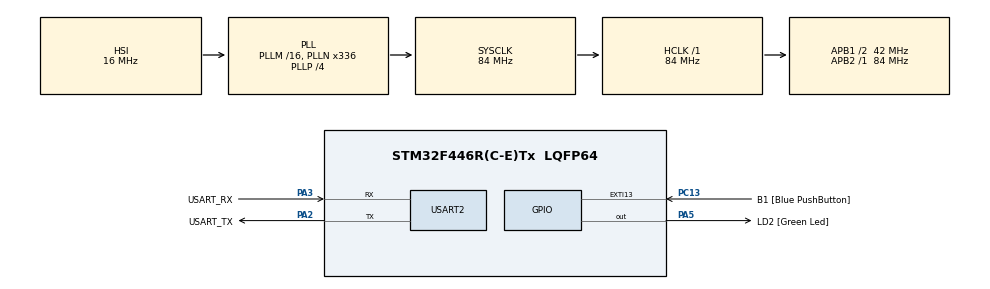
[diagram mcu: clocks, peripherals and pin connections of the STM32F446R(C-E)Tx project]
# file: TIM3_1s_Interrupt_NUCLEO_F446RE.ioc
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Mcu.Family=STM32F4
Mcu.Name=STM32F446R(C-E)Tx
Mcu.Package=LQFP64
NVIC.PriorityGroup=NVIC_PRIORITYGROUP_0
PA13.GPIO_Label=TMS
PA13.Mode=Serial_Wire
PA13.Signal=SYS_JTMS-SWDIO
PA14.GPIO_Label=TCK
PA14.Mode=Serial_Wire
PA14.Signal=SYS_JTCK-SWCLK
PA2.GPIO_Label=USART_TX
PA2.Mode=Asynchronous
PA2.Signal=USART2_TX
PA3.GPIO_Label=USART_RX
PA3.Mode=Asynchronous
PA3.Signal=USART2_RX
PA5.GPIO_Label=LD2 [Green Led]
PA5.Signal=GPIO_Output
PB3.GPIO_Label=SWO
PB3.Signal=SYS_JTDO-SWO
PC13.GPIO_Label=B1 [Blue PushButton]
PC13.GPIO_ModeDefaultEXTI=GPIO_MODE_IT_FALLING
PC13.Signal=GPXTI13
PC14-OSC32_IN.Mode=LSE-External-Oscillator
PC14-OSC32_IN.Signal=RCC_OSC32_IN
PC15-OSC32_OUT.Mode=LSE-External-Oscillator
PC15-OSC32_OUT.Signal=RCC_OSC32_OUT
PH0-OSC_IN.Mode=HSE-External-Oscillator
PH0-OSC_IN.Signal=RCC_OSC_IN
PH1-OSC_OUT.Mode=HSE-External-Oscillator
PH1-OSC_OUT.Signal=RCC_OSC_OUT
ProjectManager.HeapSize=0x200
ProjectManager.StackSize=0x400
ProjectManager.TargetToolchain=STM32CubeIDE
RCC.48MHZClocksFreq_Value=84000000
RCC.AHBFreq_Value=84000000
RCC.APB1CLKDivider=RCC_HCLK_DIV2
RCC.APB1Freq_Value=42000000
RCC.APB1TimFreq_Value=84000000
RCC.APB2Freq_Value=84000000
RCC.APB2TimFreq_Value=84000000
RCC.CortexFreq_Value=84000000
RCC.FLatency-AdvancedSettings=FLASH_LATENCY_2
RCC.HCLKFreq_Value=84000000
RCC.HSE_VALUE=8000000
RCC.HSI_VALUE=16000000
RCC.PLLN=336
RCC.PLLP=RCC_PLLP_DIV4
RCC.SYSCLKFreq_VALUE=84000000
RCC.SYSCLKSource=RCC_SYSCLKSOURCE_PLLCLK
RCC.USBFreq_Value=168000000
RCC.VCOOutputFreq_Value=336000000
USART2.VirtualMode=VM_ASYNC
board=NUCLEO-F446RE

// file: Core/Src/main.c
/* USER CODE BEGIN Header */
/**
  ******************************************************************************
  * @file           : main.c
  * @brief          : TIM3 con interrupción
  * Este programa configura TIM3 para generar un evento cada 1 segundo. Cuando el
  * contador llega al valor definido en ARR, se activa el flag UIF y, como la
  * interrupción está habilitada en el timer y en el NVIC, se ejecuta
  * TIM3_IRQHandler().Dentro de la rutina de interrupción se limpia el flag UIF
  * y se conmuta el pin PA5, donde está conectado el LED LD2 de la NUCLEO-F446RE.
  * La idea central es mostrar que el tiempo lo mide el hardware del timer,
  * mientras que la CPU solo interviene cuando ocurre el evento. Como el LED
  * conmuta cada 1 segundo, en PA5 se observa una señal con 1 segundo en alto,
  * 1 segundo en bajo y una frecuencia aproximada de 0,5 Hz.Main program body
  ******************************************************************************
  * @attention
  *
  * Copyright (c) 2026 STMicroelectronics.
  * All rights reserved.
  *
  * This software is licensed under terms that can be found in the LICENSE file
  * in the root directory of this software component.
  * If no LICENSE file comes with this software, it is provided AS-IS.
  *
  ******************************************************************************
  */
/* USER CODE END Header */
#include "main.h"

UART_HandleTypeDef huart2;

void SystemClock_Config(void);
static void MX_GPIO_Init(void);
static void MX_USART2_UART_Init(void);
/* USER CODE BEGIN PFP */
static void TIM3_1s_Interrupt_Init(void);
static void LD2_Toggle_Register(void);
/* USER CODE END PFP */

/* USER CODE BEGIN 0 */
static void LD2_Toggle_Register(void)
{
    GPIOA->ODR ^= (1UL << 5U);
}

static void TIM3_1s_Interrupt_Init(void)
{
    /*
     * TIM3 pertenece a APB1.
     * En esta configuración:
     *
     * PCLK1 = 42 MHz
     * APB1 prescaler = 2
     * f_TIM3 = 2 x PCLK1 = 84 MHz
     */

    /* 1. Habilitar reloj de TIM3 */
    RCC->APB1ENR |= RCC_APB1ENR_TIM3EN;
    (void)RCC->APB1ENR;

    /* 2. Detener el timer durante la configuración */
    TIM3->CR1 &= ~TIM_CR1_CEN;

    /*
     * f_TIM3 = 84 MHz
     * PSC = 8399  -> f_CNT = 10 kHz
     * ARR = 9999  -> evento cada 10000 cuentas
     *
     * Resultado:
     * f_evento = 1 Hz
     */

    TIM3->PSC = 8399U;
    TIM3->ARR = 9999U;
    TIM3->CNT = 0U;

    /* 3. Modo ascendente */
    TIM3->CR1 &= ~TIM_CR1_DIR;

    /* 4. Modo edge-aligned */
    TIM3->CR1 &= ~TIM_CR1_CMS;

    /* 5. Habilitar preload de ARR */
    TIM3->CR1 |= TIM_CR1_ARPE;

    /* 6. Forzar actualización para cargar PSC y ARR */
    TIM3->EGR |= TIM_EGR_UG;

    /* 7. Limpiar flag de actualización */
    TIM3->SR &= ~TIM_SR_UIF;

    /* 8. Habilitar interrupción por evento de actualización */
    TIM3->DIER |= TIM_DIER_UIE;

    /* 9. Habilitar interrupción de TIM3 en el NVIC */
    NVIC_SetPriority(TIM3_IRQn, 5U);
    NVIC_EnableIRQ(TIM3_IRQn);

    /* 10. Arrancar TIM3 */
    TIM3->CR1 |= TIM_CR1_CEN;
}

void TIM3_IRQHandler(void)
{
    if ((TIM3->SR & TIM_SR_UIF) != 0U)
    {
        /* Limpiar flag de actualización */
        TIM3->SR &= ~TIM_SR_UIF;

        /* Acción cada 1 segundo */
        LD2_Toggle_Register();
    }
}
/* USER CODE END 0 */

int main(void)
{

  /* MCU Configuration--------------------------------------------------------*/

  /* Reset of all peripherals, Initializes the Flash interface and the Systick. */
  HAL_Init();

  /* Configure the system clock */
  SystemClock_Config();

  /* Initialize all configured peripherals */
  MX_GPIO_Init();
  MX_USART2_UART_Init();
  /* USER CODE BEGIN 2 */
  TIM3_1s_Interrupt_Init();
  /* USER CODE END 2 */

  /* Infinite loop */
  /* USER CODE BEGIN WHILE */
  while (1)
  {

	  /*
	      * La CPU no consulta el flag del timer.
	      * El LED conmuta desde TIM3_IRQHandler().
	      */
    /* USER CODE END WHILE */

  }
}

void SystemClock_Config(void)
{
  RCC_OscInitTypeDef RCC_OscInitStruct = {0};
  RCC_ClkInitTypeDef RCC_ClkInitStruct = {0};

  /** Configure the main internal regulator output voltage
  */
  __HAL_RCC_PWR_CLK_ENABLE();
  __HAL_PWR_VOLTAGESCALING_CONFIG(PWR_REGULATOR_VOLTAGE_SCALE3);

  /** Initializes the RCC Oscillators according to the specified parameters
  * in the RCC_OscInitTypeDef structure.
  */
  RCC_OscInitStruct.OscillatorType = RCC_OSCILLATORTYPE_HSI;
  RCC_OscInitStruct.HSIState = RCC_HSI_ON;
  RCC_OscInitStruct.HSICalibrationValue = RCC_HSICALIBRATION_DEFAULT;
  RCC_OscInitStruct.PLL.PLLState = RCC_PLL_ON;
  RCC_OscInitStruct.PLL.PLLSource = RCC_PLLSOURCE_HSI;
  RCC_OscInitStruct.PLL.PLLM = 16;
  RCC_OscInitStruct.PLL.PLLN = 336;
  RCC_OscInitStruct.PLL.PLLP = RCC_PLLP_DIV4;
  RCC_OscInitStruct.PLL.PLLQ = 2;
  RCC_OscInitStruct.PLL.PLLR = 2;
  if (HAL_RCC_OscConfig(&RCC_OscInitStruct) != HAL_OK)
  {
    Error_Handler();
  }

  /** Initializes the CPU, AHB and APB buses clocks
  */
  RCC_ClkInitStruct.ClockType = RCC_CLOCKTYPE_HCLK|RCC_CLOCKTYPE_SYSCLK
                              |RCC_CLOCKTYPE_PCLK1|RCC_CLOCKTYPE_PCLK2;
  RCC_ClkInitStruct.SYSCLKSource = RCC_SYSCLKSOURCE_PLLCLK;
  RCC_ClkInitStruct.AHBCLKDivider = RCC_SYSCLK_DIV1;
  RCC_ClkInitStruct.APB1CLKDivider = RCC_HCLK_DIV2;
  RCC_ClkInitStruct.APB2CLKDivider = RCC_HCLK_DIV1;

  if (HAL_RCC_ClockConfig(&RCC_ClkInitStruct, FLASH_LATENCY_2) != HAL_OK)
  {
    Error_Handler();
  }
}

static void MX_USART2_UART_Init(void)
{

  huart2.Instance = USART2;
  huart2.Init.BaudRate = 115200;
  huart2.Init.WordLength = UART_WORDLENGTH_8B;
  huart2.Init.StopBits = UART_STOPBITS_1;
  huart2.Init.Parity = UART_PARITY_NONE;
  huart2.Init.Mode = UART_MODE_TX_RX;
  huart2.Init.HwFlowCtl = UART_HWCONTROL_NONE;
  huart2.Init.OverSampling = UART_OVERSAMPLING_16;
  if (HAL_UART_Init(&huart2) != HAL_OK)
  {
    Error_Handler();
  }

}

static void MX_GPIO_Init(void)
{
  GPIO_InitTypeDef GPIO_InitStruct = {0};

  /* GPIO Ports Clock Enable */
  __HAL_RCC_GPIOC_CLK_ENABLE();
  __HAL_RCC_GPIOH_CLK_ENABLE();
  __HAL_RCC_GPIOA_CLK_ENABLE();
  __HAL_RCC_GPIOB_CLK_ENABLE();

  /*Configure GPIO pin Output Level */
  HAL_GPIO_WritePin(LD2_GPIO_Port, LD2_Pin, GPIO_PIN_RESET);

  /*Configure GPIO pin : B1_Pin */
  GPIO_InitStruct.Pin = B1_Pin;
  GPIO_InitStruct.Mode = GPIO_MODE_IT_FALLING;
  GPIO_InitStruct.Pull = GPIO_NOPULL;
  HAL_GPIO_Init(B1_GPIO_Port, &GPIO_InitStruct);

  /*Configure GPIO pin : LD2_Pin */
  GPIO_InitStruct.Pin = LD2_Pin;
  GPIO_InitStruct.Mode = GPIO_MODE_OUTPUT_PP;
  GPIO_InitStruct.Pull = GPIO_NOPULL;
  GPIO_InitStruct.Speed = GPIO_SPEED_FREQ_LOW;
  HAL_GPIO_Init(LD2_GPIO_Port, &GPIO_InitStruct);

}

void Error_Handler(void)
{
  __disable_irq();
  while (1)
  {
  }
}
